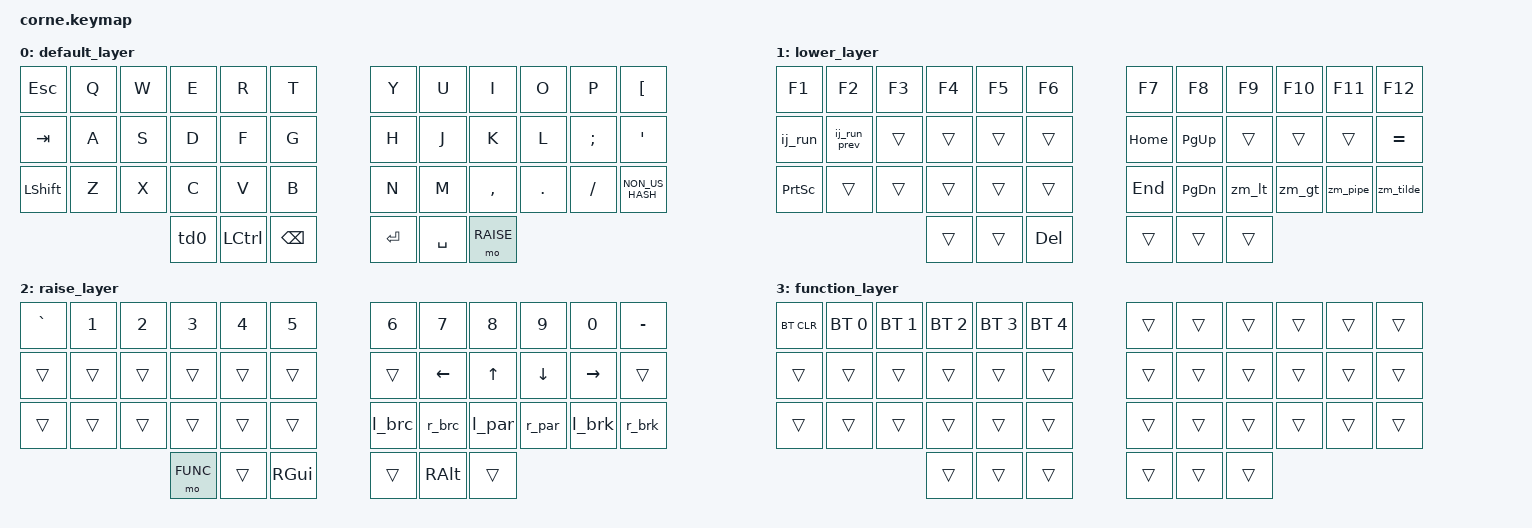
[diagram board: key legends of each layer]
/*
 * Copyright (c) 2020 The ZMK Contributors
 *
 * SPDX-License-Identifier: MIT
 */

#include <behaviors.dtsi>
#include <dt-bindings/zmk/keys.h>
#include <dt-bindings/zmk/bt.h>

#define DEFAULT 0
#define LOWER 1
#define RAISE 2
#define FUNC 3

/ {

    behaviors {
        td0: tap_dance_0 {
            compatible = "zmk,behavior-tap-dance";
            label = "TAP_DANCE_0";
            #binding-cells = <0>;
            tapping-term-ms = <200>;
            bindings = <&kp LALT>, <&mo LOWER>;
        };
    };


    macros {
        l_par: l_par {
            label = "l_par";
            compatible = "zmk,behavior-macro";
            #binding-cells = <0>;
            bindings
                = <&macro_press &kp LSHFT>
                , <&macro_tap &kp N8>
                , <&macro_release &kp LSHFT>
                ;
        };
        r_par: r_par {
            label = "r_par";
            compatible = "zmk,behavior-macro";
            #binding-cells = <0>;
            bindings
                = <&macro_press &kp LSHFT>
                , <&macro_tap &kp N9>
                , <&macro_release &kp LSHFT>
                ;
        };
        l_brk: l_brk {
            label = "l_brk";
            compatible = "zmk,behavior-macro";
            #binding-cells = <0>;
            bindings
                = <&macro_press &kp RALT>
                , <&macro_tap &kp N8>
                , <&macro_release &kp RALT>
                ;
        };
        r_brk: r_brk {
            label = "r_brk";
            compatible = "zmk,behavior-macro";
            #binding-cells = <0>;
            bindings
                = <&macro_press &kp RALT>
                , <&macro_tap &kp N9>
                , <&macro_release &kp RALT>
                ;
        };
        l_brc: l_brc {
            label = "l_brc";
            compatible = "zmk,behavior-macro";
            #binding-cells = <0>;
            bindings
                = <&macro_press &kp RALT>
                , <&macro_tap &kp N7>
                , <&macro_release &kp RALT>
                ;
        };
        r_brc: r_brc {
            label = "r_brc";
            compatible = "zmk,behavior-macro";
            #binding-cells = <0>;
            bindings
                = <&macro_press &kp RALT>
                , <&macro_tap &kp N0>
                , <&macro_release &kp RALT>
                ;
        };
        zm_lt: zm_lt {
            label = "zm_lt";
            compatible = "zmk,behavior-macro";
            #binding-cells = <0>;
            bindings
                = <&macro_tap &kp NUBS>
                ;
        };
        zm_gt: zm_gt {
            label = "zm_gt";
            compatible = "zmk,behavior-macro";
            #binding-cells = <0>;
            bindings
                = <&macro_press &kp LSHFT>
                , <&macro_tap &kp NUBS>
                , <&macro_release &kp LSHFT>
                ;
        };
        zm_pipe: zm_pipe {
            label = "zm_pipe";
            compatible = "zmk,behavior-macro";
            #binding-cells = <0>;
            bindings
                = <&macro_press &kp RALT>
                , <&macro_tap &kp NUBS>
                , <&macro_release &kp RALT>
                ;
        };
        zm_tilde: zm_tilde {
            label = "zm_tilde";
            compatible = "zmk,behavior-macro";
            #binding-cells = <0>;
            bindings
                = <&macro_press &kp RALT>
                , <&macro_tap &kp RBKT>
                , <&macro_release &kp RALT>
                , <&macro_tap &kp SPACE>
                ;
        };
        ij_run: ij_run {
            label = "ij_run";
            compatible = "zmk,behavior-macro";
            #binding-cells = <0>;
            bindings
                = <&macro_press &kp LCTRL &kp LSHFT>
                , <&macro_tap &kp F10>
                , <&macro_release &kp LCTRL &kp LSHFT>
                ;
        };
        ij_run_prev: ij_run_prev {
            label = "ij_run_prev";
            compatible = "zmk,behavior-macro";
            #binding-cells = <0>;
            bindings
                = <&macro_press &kp LCTRL &kp LSHFT>
                , <&macro_tap &kp F10>
                ;
        };
    };

    keymap {
        compatible = "zmk,keymap";

        default_layer {
            bindings = <
&kp ESC   &kp Q &kp W &kp E &kp R &kp T                        &kp Y     &kp U     &kp I     &kp O    &kp P    &kp LBKT
&kp TAB   &kp A &kp S &kp D &kp F &kp G                        &kp H     &kp J     &kp K     &kp L    &kp SEMI &kp SQT
&kp LSHFT &kp Z &kp X &kp C &kp V &kp B                        &kp N     &kp M     &kp COMMA &kp DOT  &kp FSLH &kp NON_US_HASH
                            &td0  &kp LCTRL &kp BSPC   &kp RET &kp SPACE &mo RAISE
            >;
        };

        lower_layer {
            bindings = <
&kp F1    &kp F2 &kp    F3 &kp F4 &kp F5 &kp F6                      &kp F7   &kp F8    &kp F9 &kp F10 &kp F11  &kp F12
&ij_run   &ij_run_prev  &trans &trans &trans &trans                  &kp HOME &kp PG_UP &trans &trans  &trans   &kp EQUAL
&kp PSCRN &trans        &trans &trans &trans &trans                  &kp END  &kp PG_DN &zm_lt &zm_gt  &zm_pipe &zm_tilde
                                      &trans &trans &kp DEL   &trans &trans   &trans
            >;
        };

        raise_layer {
            bindings = <
&kp GRAVE &kp N1 &kp N2 &kp N3 &kp N4   &kp N5                   &kp N6   &kp N7   &kp N8 &kp N9   &kp N0    &kp MINUS
&trans    &trans &trans &trans &trans   &trans                   &trans   &kp LEFT &kp UP &kp DOWN &kp RIGHT &trans
&trans    &trans &trans &trans &trans   &trans                   &l_brc   &r_brc   &l_par &r_par   &l_brk    &r_brk
                               &mo FUNC &trans &kp RGUI   &trans &kp RALT &trans
            >;
        };

        function_layer {
            bindings = <
&bt BT_CLR &bt BT_SEL 0 &bt BT_SEL 1 &bt BT_SEL 2 &bt BT_SEL 3 &bt BT_SEL 4                 &trans &trans &trans &trans &trans &trans
&trans     &trans       &trans       &trans       &trans       &trans                       &trans &trans &trans &trans &trans &trans
&trans     &trans       &trans       &trans       &trans       &trans                       &trans &trans &trans &trans &trans &trans
                                                  &trans       &trans       &trans   &trans &trans &trans
            >;
        };
    };
};

// ------------------------------------------------------------------------------------------------------------
// |   |   |   |   |   |   |                    |   |   |   |   |   |   |
// |   |   |   |   |   |   |                    |   |   |   |   |   |   |
// |   |   |   |   |   |   |                    |   |   |   |   |   |   |
// |   |   |   |   |   |   |   |            |   |   |   |   |   |   |   |
//                     |   |   |            |   |   |   |   |   |   |   |
//    bindings = <
//&trans &trans &trans   &trans   &trans    &trans                           &trans      &trans    &trans    &trans  &trans   &trans
//&trans &trans &trans   &trans   &trans    &trans                           &trans      &trans    &trans    &trans  &trans   &trans
//&trans &trans &trans   &trans   &trans    &trans                           &trans      &trans    &trans    &trans  &trans   &trans
//&trans &trans &trans   &trans   &trans    &trans &trans        &to DEFAULT &trans      &trans    &trans    &trans  &trans   &trans
//                       &trans   &trans    &trans &trans        &trans      &trans      &trans    &trans
//    >;
